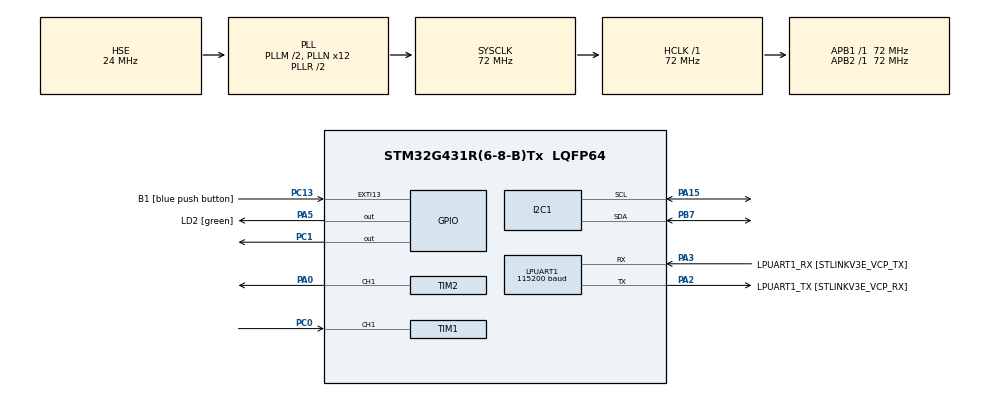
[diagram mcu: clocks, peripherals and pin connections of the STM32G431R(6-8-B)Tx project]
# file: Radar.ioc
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I2C1.Timing=0x10808DD3
LPUART1.BaudRate=115200
Mcu.Family=STM32G4
Mcu.Name=STM32G431R(6-8-B)Tx
Mcu.Package=LQFP64
NVIC.PriorityGroup=NVIC_PRIORITYGROUP_4
NVIC.TIM1_CC_IRQn=true\:0\:0\:false\:false\:true\:true\:true\:true
PA0.Signal=S_TIM2_CH1
PA13.GPIO_Label=T_SWDIO
PA13.Mode=Serial_Wire
PA13.Signal=SYS_JTMS-SWDIO
PA14.GPIO_Label=T_SWCLK
PA14.Mode=Serial_Wire
PA14.Signal=SYS_JTCK-SWCLK
PA15.Mode=I2C
PA15.Signal=I2C1_SCL
PA2.GPIO_Label=LPUART1_TX [STLINKV3E_VCP_RX]
PA2.Mode=Asynchronous
PA2.Signal=LPUART1_TX
PA3.GPIO_Label=LPUART1_RX [STLINKV3E_VCP_TX]
PA3.Mode=Asynchronous
PA3.Signal=LPUART1_RX
PA5.GPIO_Label=LD2 [green]
PA5.Signal=GPIO_Output
PB3.GPIO_Label=T_SWO
PB3.Signal=SYS_JTDO-SWO
PB7.Mode=I2C
PB7.Signal=I2C1_SDA
PC0.Signal=S_TIM1_CH1
PC1.Signal=GPIO_Output
PC13.GPIO_Label=B1 [blue push button]
PC13.Signal=GPXTI13
PC14-OSC32_IN.Signal=RCC_OSC32_IN
PC15-OSC32_OUT.Signal=RCC_OSC32_OUT
PF0-OSC_IN.Mode=HSE-External-Oscillator
PF0-OSC_IN.Signal=RCC_OSC_IN
PF1-OSC_OUT.Mode=HSE-External-Oscillator
PF1-OSC_OUT.Signal=RCC_OSC_OUT
ProjectManager.HeapSize=0x200
ProjectManager.StackSize=0x400
ProjectManager.TargetToolchain=STM32CubeIDE
RCC.ADC12Freq_Value=72000000
RCC.AHBFreq_Value=72000000
RCC.APB1Freq_Value=72000000
RCC.APB1TimFreq_Value=72000000
RCC.APB2Freq_Value=72000000
RCC.APB2TimFreq_Value=72000000
RCC.CortexFreq_Value=72000000
RCC.EXTERNAL_CLOCK_VALUE=12288000
RCC.HCLKFreq_Value=72000000
RCC.HSE_VALUE=24000000
RCC.HSI48_VALUE=48000000
RCC.HSI_VALUE=16000000
RCC.LSE_VALUE=32768
RCC.PLLM=RCC_PLLM_DIV2
RCC.PLLN=12
RCC.PLLSourceVirtual=RCC_PLLSOURCE_HSE
RCC.RTCClockSelection=RCC_RTCCLKSOURCE_LSE
RCC.SYSCLKFreq_VALUE=72000000
RCC.SYSCLKSource=RCC_SYSCLKSOURCE_PLLCLK
RCC.USBFreq_Value=72000000
RCC.VCOOutputFreq_Value=144000000
SH.S_TIM1_CH1.0=TIM1_CH1,Input_Capture1_from_TI1
SH.S_TIM2_CH1.0=TIM2_CH1,PWM Generation1 CH1
TIM1.Channel-Input_Capture1_from_TI1=TIM_CHANNEL_1
TIM1.PeriodNoDither=0xffff-1
TIM1.Prescaler=72-1
TIM2.Channel-PWM\ Generation1\ CH1=TIM_CHANNEL_1
TIM2.PeriodNoDither=20000-1
TIM2.Prescaler=72-1
TIM2.PulseNoDither_1=1500
VP_SYS_VS_DBSignals.Mode=DisableDeadBatterySignals
VP_TIM2_VS_ClockSourceINT.Mode=Internal
board=NUCLEO-G431RB

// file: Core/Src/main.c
/* USER CODE BEGIN Header */
/**
  ******************************************************************************
  * @file           : main.c
  * @brief          : Main program body
  ******************************************************************************
  * @attention
  *
  * Copyright (c) 2023 STMicroelectronics.
  * All rights reserved.
  *
  * This software is licensed under terms that can be found in the LICENSE file
  * in the root directory of this software component.
  * If no LICENSE file comes with this software, it is provided AS-IS.
  *
  ******************************************************************************
  */
/* USER CODE END Header */
#include "main.h"

/* USER CODE BEGIN Includes */
#include <stdio.h>
#include "i2c-lcd.h"
#include "hc-sr04.h"
/* USER CODE END Includes */

I2C_HandleTypeDef hi2c1;
UART_HandleTypeDef hlpuart1;
TIM_HandleTypeDef htim1;
TIM_HandleTypeDef htim2;

void SystemClock_Config(void);
static void MX_GPIO_Init(void);
static void MX_TIM1_Init(void);
static void MX_I2C1_Init(void);
static void MX_LPUART1_UART_Init(void);
static void MX_TIM2_Init(void);
/* USER CODE BEGIN PFP */
//LPUART1
#ifdef __GNUC__
/* With GCC, small printf (option LD Linker->Libraries->Small printf
   set to 'Yes') calls __io_putchar() */
#define PUTCHAR_PROTOTYPE int __io_putchar(int ch)
#else
#define PUTCHAR_PROTOTYPE int fputc(int ch, FILE *f)
#endif /* __GNUC__ */

/* USER CODE END PFP */

/* USER CODE BEGIN 0 */

  //LPUART1
  PUTCHAR_PROTOTYPE
  {
    /* Place your implementation of fputc here */
    /* e.g. write a character to the LPUART1 and Loop until the end of transmission */
    HAL_UART_Transmit(&hlpuart1, (uint8_t *)&ch, 1, 0xFFFF);

    return ch;
  }

  //PWM
    void set_angle( int angle)
    {

          int pwm = (54 + angle) / 0.09;
    	  TIM2->CCR1 =  pwm;
    }

  //Display_LCD
  extern uint32_t Distance;
  void Display_LCD(void)
  {
	  lcd_clear();
	  HCSR04_Read();
	  lcd_send_string("Distance= ");
	  int d = Distance / 10;
	  if (d > 10)
	  d=d/10;
	  lcd_send_data((Distance / 100) + 48); // Singularity
	  lcd_send_data(d + 48); // Dozens
	  lcd_send_data((Distance % 10) + 48); // Hundreds
	  lcd_send_string(" cm");
  }

/* USER CODE END 0 */

int main(void)
{

  /* MCU Configuration--------------------------------------------------------*/

  /* Reset of all peripherals, Initializes the Flash interface and the Systick. */
  HAL_Init();

  /* Configure the system clock */
  SystemClock_Config();

  /* Initialize all configured peripherals */
  MX_GPIO_Init();
  MX_TIM1_Init();
  MX_I2C1_Init();
  MX_LPUART1_UART_Init();
  MX_TIM2_Init();
  /* USER CODE BEGIN 2 */
  //LCD
  lcd_init();
  //HCSR04
  HAL_TIM_IC_Start_IT(&htim1, TIM_CHANNEL_1);
  //PWM
  HAL_TIM_PWM_Start(&htim2, TIM_CHANNEL_1);

  /* USER CODE END 2 */

  /* Infinite loop */
  while (1)
  {

    /* USER CODE BEGIN 3 */

//PWM
	  		 for(int i=15; i < 170; i++)
	  		 {
	  			 set_angle(i);
	  			 if(i % 15 == 0)
	  			 Display_LCD();
	  			//LPUART1
	  			 printf("%d,%d\n",i,Distance);
	  			 HAL_Delay(30);
	  		 }

	  		 for(int i=170; i>15; i--)
	  		 {
	  			 set_angle(i);
	  			 if(i % 15 == 0)
	  			 Display_LCD();
	  			//LPUART1
	  		     printf("%d,%d\n",i,Distance);
	  			 HAL_Delay(30);
	  		 }

  }

  /* USER CODE END 3 */
}

void SystemClock_Config(void)
{
  RCC_OscInitTypeDef RCC_OscInitStruct = {0};
  RCC_ClkInitTypeDef RCC_ClkInitStruct = {0};

  /** Configure the main internal regulator output voltage
  */
  HAL_PWREx_ControlVoltageScaling(PWR_REGULATOR_VOLTAGE_SCALE1);

  /** Initializes the RCC Oscillators according to the specified parameters
  * in the RCC_OscInitTypeDef structure.
  */
  RCC_OscInitStruct.OscillatorType = RCC_OSCILLATORTYPE_HSE;
  RCC_OscInitStruct.HSEState = RCC_HSE_ON;
  RCC_OscInitStruct.PLL.PLLState = RCC_PLL_ON;
  RCC_OscInitStruct.PLL.PLLSource = RCC_PLLSOURCE_HSE;
  RCC_OscInitStruct.PLL.PLLM = RCC_PLLM_DIV2;
  RCC_OscInitStruct.PLL.PLLN = 12;
  RCC_OscInitStruct.PLL.PLLP = RCC_PLLP_DIV2;
  RCC_OscInitStruct.PLL.PLLQ = RCC_PLLQ_DIV2;
  RCC_OscInitStruct.PLL.PLLR = RCC_PLLR_DIV2;
  if (HAL_RCC_OscConfig(&RCC_OscInitStruct) != HAL_OK)
  {
    Error_Handler();
  }

  /** Initializes the CPU, AHB and APB buses clocks
  */
  RCC_ClkInitStruct.ClockType = RCC_CLOCKTYPE_HCLK|RCC_CLOCKTYPE_SYSCLK
                              |RCC_CLOCKTYPE_PCLK1|RCC_CLOCKTYPE_PCLK2;
  RCC_ClkInitStruct.SYSCLKSource = RCC_SYSCLKSOURCE_PLLCLK;
  RCC_ClkInitStruct.AHBCLKDivider = RCC_SYSCLK_DIV1;
  RCC_ClkInitStruct.APB1CLKDivider = RCC_HCLK_DIV1;
  RCC_ClkInitStruct.APB2CLKDivider = RCC_HCLK_DIV1;

  if (HAL_RCC_ClockConfig(&RCC_ClkInitStruct, FLASH_LATENCY_2) != HAL_OK)
  {
    Error_Handler();
  }
}

static void MX_I2C1_Init(void)
{

  hi2c1.Instance = I2C1;
  hi2c1.Init.Timing = 0x10808DD3;
  hi2c1.Init.OwnAddress1 = 0;
  hi2c1.Init.AddressingMode = I2C_ADDRESSINGMODE_7BIT;
  hi2c1.Init.DualAddressMode = I2C_DUALADDRESS_DISABLE;
  hi2c1.Init.OwnAddress2 = 0;
  hi2c1.Init.OwnAddress2Masks = I2C_OA2_NOMASK;
  hi2c1.Init.GeneralCallMode = I2C_GENERALCALL_DISABLE;
  hi2c1.Init.NoStretchMode = I2C_NOSTRETCH_DISABLE;
  if (HAL_I2C_Init(&hi2c1) != HAL_OK)
  {
    Error_Handler();
  }

  /** Configure Analogue filter
  */
  if (HAL_I2CEx_ConfigAnalogFilter(&hi2c1, I2C_ANALOGFILTER_ENABLE) != HAL_OK)
  {
    Error_Handler();
  }

  /** Configure Digital filter
  */
  if (HAL_I2CEx_ConfigDigitalFilter(&hi2c1, 0) != HAL_OK)
  {
    Error_Handler();
  }

}

static void MX_LPUART1_UART_Init(void)
{

  hlpuart1.Instance = LPUART1;
  hlpuart1.Init.BaudRate = 115200;
  hlpuart1.Init.WordLength = UART_WORDLENGTH_8B;
  hlpuart1.Init.StopBits = UART_STOPBITS_1;
  hlpuart1.Init.Parity = UART_PARITY_NONE;
  hlpuart1.Init.Mode = UART_MODE_TX_RX;
  hlpuart1.Init.HwFlowCtl = UART_HWCONTROL_NONE;
  hlpuart1.Init.OneBitSampling = UART_ONE_BIT_SAMPLE_DISABLE;
  hlpuart1.Init.ClockPrescaler = UART_PRESCALER_DIV1;
  hlpuart1.AdvancedInit.AdvFeatureInit = UART_ADVFEATURE_NO_INIT;
  if (HAL_UART_Init(&hlpuart1) != HAL_OK)
  {
    Error_Handler();
  }
  if (HAL_UARTEx_SetTxFifoThreshold(&hlpuart1, UART_TXFIFO_THRESHOLD_1_8) != HAL_OK)
  {
    Error_Handler();
  }
  if (HAL_UARTEx_SetRxFifoThreshold(&hlpuart1, UART_RXFIFO_THRESHOLD_1_8) != HAL_OK)
  {
    Error_Handler();
  }
  if (HAL_UARTEx_DisableFifoMode(&hlpuart1) != HAL_OK)
  {
    Error_Handler();
  }

}

static void MX_TIM1_Init(void)
{

  TIM_MasterConfigTypeDef sMasterConfig = {0};
  TIM_IC_InitTypeDef sConfigIC = {0};

  htim1.Instance = TIM1;
  htim1.Init.Prescaler = 72-1;
  htim1.Init.CounterMode = TIM_COUNTERMODE_UP;
  htim1.Init.Period = 65534;
  htim1.Init.ClockDivision = TIM_CLOCKDIVISION_DIV1;
  htim1.Init.RepetitionCounter = 0;
  htim1.Init.AutoReloadPreload = TIM_AUTORELOAD_PRELOAD_DISABLE;
  if (HAL_TIM_IC_Init(&htim1) != HAL_OK)
  {
    Error_Handler();
  }
  sMasterConfig.MasterOutputTrigger = TIM_TRGO_RESET;
  sMasterConfig.MasterOutputTrigger2 = TIM_TRGO2_RESET;
  sMasterConfig.MasterSlaveMode = TIM_MASTERSLAVEMODE_DISABLE;
  if (HAL_TIMEx_MasterConfigSynchronization(&htim1, &sMasterConfig) != HAL_OK)
  {
    Error_Handler();
  }
  sConfigIC.ICPolarity = TIM_INPUTCHANNELPOLARITY_RISING;
  sConfigIC.ICSelection = TIM_ICSELECTION_DIRECTTI;
  sConfigIC.ICPrescaler = TIM_ICPSC_DIV1;
  sConfigIC.ICFilter = 0;
  if (HAL_TIM_IC_ConfigChannel(&htim1, &sConfigIC, TIM_CHANNEL_1) != HAL_OK)
  {
    Error_Handler();
  }

}

static void MX_TIM2_Init(void)
{

  TIM_ClockConfigTypeDef sClockSourceConfig = {0};
  TIM_MasterConfigTypeDef sMasterConfig = {0};
  TIM_OC_InitTypeDef sConfigOC = {0};

  htim2.Instance = TIM2;
  htim2.Init.Prescaler = 72-1;
  htim2.Init.CounterMode = TIM_COUNTERMODE_UP;
  htim2.Init.Period = 19999;
  htim2.Init.ClockDivision = TIM_CLOCKDIVISION_DIV1;
  htim2.Init.AutoReloadPreload = TIM_AUTORELOAD_PRELOAD_DISABLE;
  if (HAL_TIM_Base_Init(&htim2) != HAL_OK)
  {
    Error_Handler();
  }
  sClockSourceConfig.ClockSource = TIM_CLOCKSOURCE_INTERNAL;
  if (HAL_TIM_ConfigClockSource(&htim2, &sClockSourceConfig) != HAL_OK)
  {
    Error_Handler();
  }
  if (HAL_TIM_PWM_Init(&htim2) != HAL_OK)
  {
    Error_Handler();
  }
  sMasterConfig.MasterOutputTrigger = TIM_TRGO_RESET;
  sMasterConfig.MasterSlaveMode = TIM_MASTERSLAVEMODE_DISABLE;
  if (HAL_TIMEx_MasterConfigSynchronization(&htim2, &sMasterConfig) != HAL_OK)
  {
    Error_Handler();
  }
  sConfigOC.OCMode = TIM_OCMODE_PWM1;
  sConfigOC.Pulse = 1500;
  sConfigOC.OCPolarity = TIM_OCPOLARITY_HIGH;
  sConfigOC.OCFastMode = TIM_OCFAST_DISABLE;
  if (HAL_TIM_PWM_ConfigChannel(&htim2, &sConfigOC, TIM_CHANNEL_1) != HAL_OK)
  {
    Error_Handler();
  }
  HAL_TIM_MspPostInit(&htim2);

}

static void MX_GPIO_Init(void)
{
  GPIO_InitTypeDef GPIO_InitStruct = {0};

  /* GPIO Ports Clock Enable */
  __HAL_RCC_GPIOC_CLK_ENABLE();
  __HAL_RCC_GPIOF_CLK_ENABLE();
  __HAL_RCC_GPIOA_CLK_ENABLE();
  __HAL_RCC_GPIOB_CLK_ENABLE();

  /*Configure GPIO pin Output Level */
  HAL_GPIO_WritePin(GPIOC, GPIO_PIN_1, GPIO_PIN_RESET);

  /*Configure GPIO pin Output Level */
  HAL_GPIO_WritePin(LD2_GPIO_Port, LD2_Pin, GPIO_PIN_RESET);

  /*Configure GPIO pin : B1_Pin */
  GPIO_InitStruct.Pin = B1_Pin;
  GPIO_InitStruct.Mode = GPIO_MODE_IT_RISING;
  GPIO_InitStruct.Pull = GPIO_NOPULL;
  HAL_GPIO_Init(B1_GPIO_Port, &GPIO_InitStruct);

  /*Configure GPIO pin : PC1 */
  GPIO_InitStruct.Pin = GPIO_PIN_1;
  GPIO_InitStruct.Mode = GPIO_MODE_OUTPUT_PP;
  GPIO_InitStruct.Pull = GPIO_NOPULL;
  GPIO_InitStruct.Speed = GPIO_SPEED_FREQ_LOW;
  HAL_GPIO_Init(GPIOC, &GPIO_InitStruct);

  /*Configure GPIO pin : LD2_Pin */
  GPIO_InitStruct.Pin = LD2_Pin;
  GPIO_InitStruct.Mode = GPIO_MODE_OUTPUT_PP;
  GPIO_InitStruct.Pull = GPIO_NOPULL;
  GPIO_InitStruct.Speed = GPIO_SPEED_FREQ_LOW;
  HAL_GPIO_Init(LD2_GPIO_Port, &GPIO_InitStruct);

}

void Error_Handler(void)
{
  __disable_irq();
  while (1)
  {
  }
}
